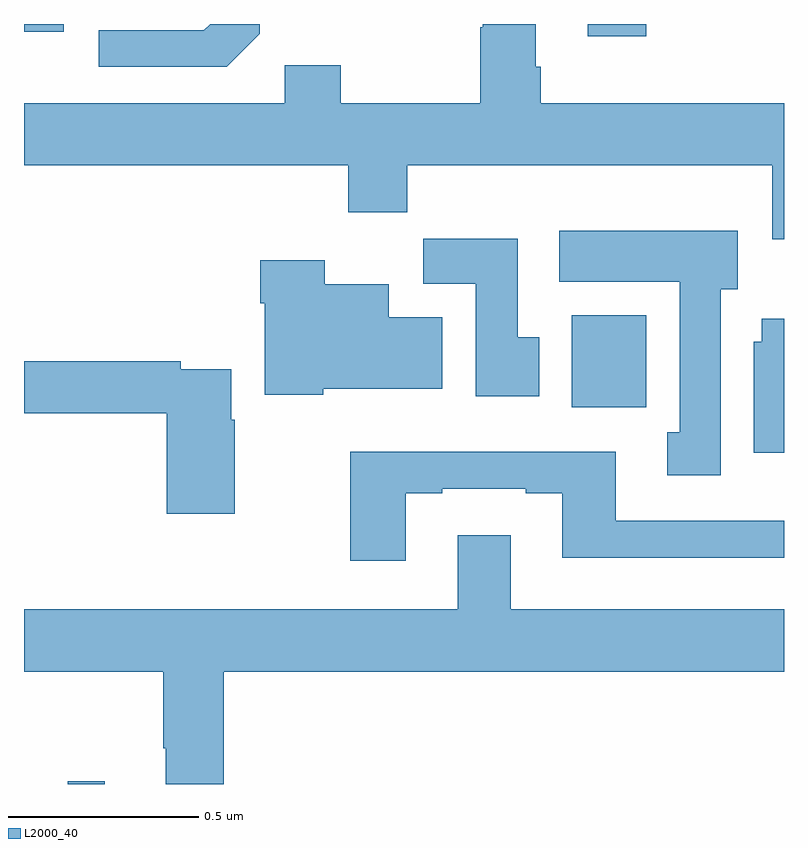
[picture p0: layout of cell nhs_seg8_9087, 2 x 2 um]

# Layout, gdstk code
import gdstk
lib = gdstk.Library(unit=1e-6, precision=1e-09)
def R(c, l, rs):  # rectangles x0, y0, x1, y1
    for r in rs: c.add(gdstk.rectangle(r[:2], r[2:], *l))
def P(c, l, *ps):  # polygons
    for p in ps: c.add(gdstk.Polygon(p, *l))
L2000_40 = (2000, 40)

nhs_seg8_9087 = lib.new_cell('nhs_seg8_9087')
R(nhs_seg8_9087, L2000_40, [(232.115,1086.9,232.213,1086.907), (233.441,1087.892,233.638,1088.134), (233.483,1088.868,233.638,1088.9), (232,1088.88,232.104,1088.9)])
P(nhs_seg8_9087, L2000_40, [(232.62,1088.874),(232.62,1088.9),(232.49,1088.9),(232.473,1088.883),(232.197,1088.883),(232.197,1088.787),(232.533,1088.787)],
  [(234,1088.692),(233.36,1088.692),(233.36,1088.788),(233.347,1088.788),(233.347,1088.9),(233.207,1088.9),(233.207,1088.891),(233.2,1088.891),(233.2,1088.692),(232.833,1088.692),(232.833,1088.791),(232.686,1088.791),(232.686,1088.692),(232,1088.692),(232,1088.528),(232.853,1088.528),(232.853,1088.404),(233.009,1088.404),(233.009,1088.528),(233.969,1088.528),(233.969,1088.334),(234,1088.334)],
  [(233.833,1088.202),(233.878,1088.202),(233.878,1088.356),(233.409,1088.356),(233.409,1088.222),(233.726,1088.222),(233.726,1087.826),(233.693,1087.826),(233.693,1087.713),(233.833,1087.713)],
  [(233.356,1088.076),(233.299,1088.076),(233.299,1088.335),(233.05,1088.335),(233.05,1088.216),(233.189,1088.216),(233.189,1087.92),(233.356,1087.92)],
  [(232.788,1087.94),(233.101,1087.94),(233.101,1088.128),(232.96,1088.128),(232.96,1088.215),(232.792,1088.215),(232.792,1088.278),(232.622,1088.278),(232.622,1088.165),(232.634,1088.165),(232.634,1087.925),(232.788,1087.925)],
  [(234,1088.125),(233.942,1088.125),(233.942,1088.064),(233.921,1088.064),(233.921,1087.772),(234,1087.772)],
  [(232.554,1087.859),(232.546,1087.859),(232.546,1087.992),(232.412,1087.992),(232.412,1088.012),(232,1088.012),(232,1087.876),(232.376,1087.876),(232.376,1087.611),(232.554,1087.611)],
  [(233.005,1087.665),(233.101,1087.665),(233.101,1087.677),(233.321,1087.677),(233.321,1087.665),(233.417,1087.665),(233.417,1087.496),(234,1087.496),(234,1087.593),(233.557,1087.593),(233.557,1087.774),(232.858,1087.774),(232.858,1087.488),(233.005,1087.488)],
  [(232.526,1087.196),(234,1087.196),(234,1087.36),(233.281,1087.36),(233.281,1087.555),(233.141,1087.555),(233.141,1087.36),(232,1087.36),(232,1087.196),(232.366,1087.196),(232.366,1086.994),(232.373,1086.994),(232.373,1086.9),(232.526,1086.9)])

lib.write_gds('nhs_seg8_9087.gds')
